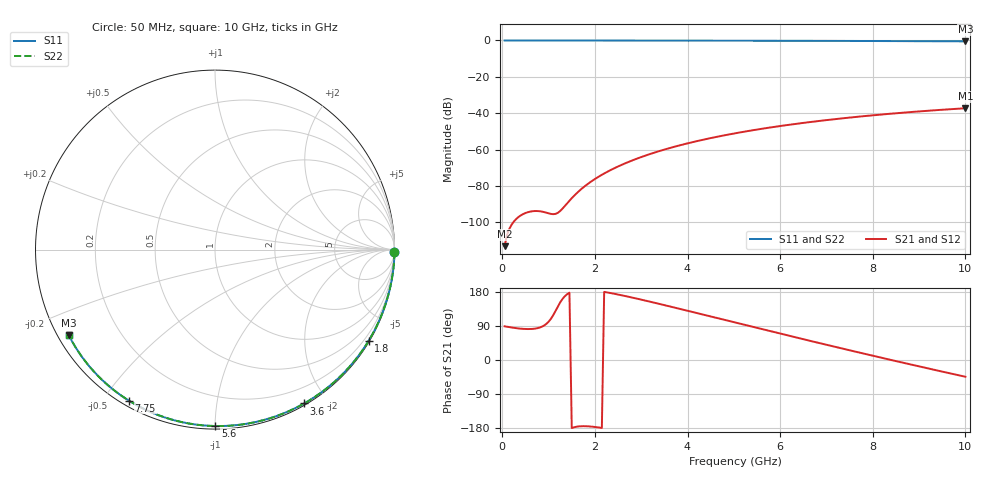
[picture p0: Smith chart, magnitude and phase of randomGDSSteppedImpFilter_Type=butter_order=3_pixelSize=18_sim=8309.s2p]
! freq	dB(S11)	phase(S11)	dB(S12)	phase(S12)
!  dB(S21)	phase(S21)	dB(S22)	phase(S22)
!S-par simulation data
#  GHz  S  DB  R 50
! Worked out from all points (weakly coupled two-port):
!   200 points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, 50 MHz to 10 GHz, reference 50 ohm
!   highest |S21| = -37.26 dB at 10 GHz (marker M1); lowest = -113.1 dB at 50 MHz (marker M2)
!   lowest |S11| = -0.5 dB at 10 GHz (marker M3), VSWR 34.70, Z = 1.55 - j13.5 ohm
!   |S11| at or under -10 dB: nowhere
!   |S22| runs from -0.5 to 0.0 dB; largest |S21 - S12| = 0
!   S11 on the Smith chart (normalised r, x): 50 MHz: open; 1.8 GHz: 0.03, -3.64; 3.6 GHz: 0.02, -1.74; 5.6 GHz: 0.02, -1.00; 7.75 GHz: 0.02, -0.58; 10 GHz: 0.03, -0.27
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0.05  -0.00 -0.9  -113.07 88.9  -113.07 88.9  -0.00 -0.9
0.45  -0.01 -7.8  -95.42 82.2  -95.42 82.2  -0.01 -7.8
0.9  -0.02 -15.5  -94.31 90.8  -94.31 90.8  -0.02 -15.5
1.3  -0.03 -22.3  -92.44 161.1  -92.44 161.1  -0.03 -22.3
1.75  -0.04 -29.9  -80.75 -174.7  -80.75 -174.7  -0.04 -29.9
1.8  -0.04 -30.7  -79.74 -174.7  -79.74 -174.7  -0.04 -30.7
1.95  -0.04 -33.2  -76.99 -176.0  -76.99 -176.0  -0.04 -33.2
2.1  -0.05 -35.7  -74.58 -178.3  -74.58 -178.3  -0.05 -35.7
2.3  -0.05 -39.0  -71.75 177.6  -71.75 177.6  -0.05 -39.0
2.5  -0.05 -42.3  -69.26 172.8  -69.26 172.8  -0.05 -42.3
2.9  -0.06 -48.8  -65.03 162.2  -65.03 162.2  -0.06 -48.8
3.4  -0.08 -56.7  -60.73 147.8  -60.73 147.8  -0.08 -56.7
3.6  -0.08 -59.9  -59.24 141.9  -59.24 141.9  -0.08 -59.9
4.3  -0.10 -70.7  -54.76 120.9  -54.76 120.9  -0.10 -70.7
5.05  -0.13 -81.9  -50.92 98.2  -50.92 98.2  -0.13 -81.9
5.6  -0.15 -89.9  -48.56 81.7  -48.56 81.7  -0.15 -89.9
6.15  -0.17 -97.7  -46.50 65.2  -46.50 65.2  -0.17 -97.7
6.7  -0.21 -105.4  -44.68 49.0  -44.68 49.0  -0.21 -105.4
7.75  -0.28 -119.6  -41.75 18.4  -41.75 18.4  -0.28 -119.6
8.35  -0.33 -127.7  -40.34 1.3  -40.34 1.3  -0.33 -127.7
9.2  -0.41 -139.0  -38.62 -22.4  -38.62 -22.4  -0.41 -139.0
10  -0.50 -149.7  -37.26 -44.2  -37.26 -44.2  -0.50 -149.7
